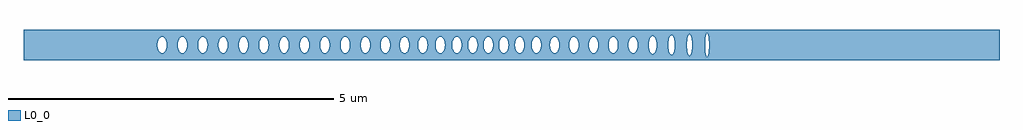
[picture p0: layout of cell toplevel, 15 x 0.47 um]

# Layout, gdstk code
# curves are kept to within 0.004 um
import gdstk
lib = gdstk.Library(unit=1e-6, precision=1e-09)
def P(c, l, *ps):  # polygons
    for p in ps: c.add(gdstk.Polygon(p, *l))
L0_0 = (0, 0)

toplevel = lib.new_cell('toplevel')
P(toplevel, L0_0, [(-4.189,0.032),(-4.178,0.075),(-4.162,0.103),(-4.146,0.119),(-4.119,0.128),(-4.093,0.119),(-4.073,0.098),(-4.058,0.068),(-4.047,0.016),(-4.047,0.234),(-4.754,0.234),(-4.754,0.126),(-4.718,0.119),(-4.695,0.093),(-4.677,0.047),(-4.673,-0.016),(-4.504,-0.016),(-4.502,0.032),(-4.491,0.075),(-4.467,0.112),(-4.432,0.128),(-4.405,0.119),(-4.382,0.093),(-4.36,0.016),(-4.362,-0.032),(-4.373,-0.075),(-4.397,-0.112),(-4.432,-0.128),(-4.459,-0.119),(-4.482,-0.093),(-4.498,-0.054),(-4.504,-0.016),(-4.673,-0.016),(-4.681,-0.061),(-4.702,-0.103),(-4.731,-0.125),(-4.754,-0.126),(-4.754,-0.234),(-4.047,-0.234),(-4.047,-0.019),(-4.058,-0.068),(-4.08,-0.108),(-4.106,-0.125),(-4.133,-0.125),(-4.162,-0.103),(-4.183,-0.061),(-4.192,-0.008)],
  [(-5.119,-0.234),(-5.119,-0.068),(-5.13,-0.008),(-5.119,0.068),(-5.119,0.234),(-7.5,0.234),(-7.5,0),(-5.443,0),(-5.438,0.047),(-5.42,0.093),(-5.397,0.119),(-5.37,0.128),(-5.344,0.119),(-5.324,0.098),(-5.309,0.068),(-5.298,0.016),(-5.301,-0.039),(-5.314,-0.081),(-5.335,-0.112),(-5.37,-0.128),(-5.397,-0.119),(-5.42,-0.093),(-5.438,-0.047),(-5.443,0),(-7.5,0),(-7.5,-0.234)],
  [(-5.107,0.093),(-5.092,0.112),(-5.071,0.125),(-5.057,0.128),(-5.031,0.119),(-5.011,0.098),(-4.996,0.068),(-4.985,-0.008),(-4.999,-0.075),(-5.019,-0.108),(-5.039,-0.123),(-5.057,-0.128),(-5.084,-0.119),(-5.104,-0.098),(-5.119,-0.068),(-5.119,-0.234),(-4.754,-0.234),(-4.754,-0.126),(-4.78,-0.112),(-4.798,-0.087),(-4.817,-0.016),(-4.814,0.039),(-4.801,0.081),(-4.78,0.112),(-4.754,0.126),(-4.754,0.234),(-5.119,0.234),(-5.119,0.068)],
  [(-3.536,-0.234),(-3.536,-0.103),(-3.555,-0.068),(-3.566,-0.016),(-3.561,0.047),(-3.536,0.103),(-3.536,0.234),(-4.047,0.234),(-4.047,-0.008),(-3.879,-0.008),(-3.874,0.047),(-3.856,0.093),(-3.833,0.119),(-3.807,0.128),(-3.78,0.119),(-3.76,0.098),(-3.745,0.068),(-3.734,0.008),(-3.739,-0.047),(-3.757,-0.093),(-3.78,-0.119),(-3.807,-0.128),(-3.833,-0.119),(-3.853,-0.098),(-3.868,-0.068),(-3.879,-0.008),(-4.047,-0.008),(-4.047,-0.234)],
  [(-3.529,0.112),(-3.494,0.128),(-3.467,0.119),(-3.455,0.108),(-3.43,0.061),(-3.421,0),(-3.43,-0.061),(-3.459,-0.112),(-3.494,-0.128),(-3.52,-0.119),(-3.536,-0.103),(-3.536,-0.234),(-3.19,-0.234),(-3.19,-0.126),(-3.208,-0.119),(-3.231,-0.093),(-3.245,-0.061),(-3.253,-0.016),(-3.251,0.032),(-3.24,0.075),(-3.22,0.108),(-3.19,0.126),(-3.19,0.234),(-3.536,0.234),(-3.536,0.103)],
  [(-3.111,-0.032),(-3.125,-0.081),(-3.142,-0.108),(-3.168,-0.125),(-3.19,-0.126),(-3.19,-0.234),(-2.833,-0.234),(-2.833,-0.112),(-2.868,-0.128),(-2.903,-0.112),(-2.927,-0.075),(-2.941,-0.008),(-2.932,0.061),(-2.907,0.108),(-2.895,0.119),(-2.868,0.128),(-2.833,0.112),(-2.833,0.234),(-3.19,0.234),(-3.19,0.126),(-3.154,0.119),(-3.128,0.087),(-3.112,0.039)],
  [(-2.483,-0.008),(-2.492,-0.061),(-2.509,-0.098),(-2.529,-0.119),(-2.556,-0.128),(-2.582,-0.119),(-2.602,-0.098),(-2.617,-0.068),(-2.628,-0.008),(-2.623,0.047),(-2.605,0.093),(-2.582,0.119),(-2.556,0.128),(-2.529,0.119),(-2.509,0.098),(-2.492,0.061),(-2.483,0.008),(-2.483,0.234),(-2.833,0.234),(-2.833,0.112),(-2.807,0.068),(-2.796,0.008),(-2.807,-0.068),(-2.833,-0.112),(-2.833,-0.234),(-2.483,-0.234)],
  [(-1.978,-0.234),(-1.978,-0.108),(-2.003,-0.061),(-2.012,-0.008),(-2.003,0.061),(-1.978,0.108),(-1.978,0.234),(-2.483,0.234),(-2.483,-0.008),(-2.317,-0.008),(-2.312,0.047),(-2.294,0.093),(-2.271,0.119),(-2.245,0.128),(-2.218,0.119),(-2.198,0.098),(-2.183,0.068),(-2.172,0.008),(-2.177,-0.047),(-2.195,-0.093),(-2.218,-0.119),(-2.245,-0.128),(-2.271,-0.119),(-2.291,-0.098),(-2.306,-0.068),(-2.317,-0.008),(-2.483,-0.008),(-2.483,-0.234)],
  [(-1.97,0.115),(-1.939,0.128),(-1.904,0.112),(-1.878,0.068),(-1.869,0.032),(-1.867,-0.016),(-1.878,-0.068),(-1.904,-0.112),(-1.939,-0.128),(-1.966,-0.119),(-1.978,-0.108),(-1.978,-0.234),(-1.626,-0.234),(-1.626,-0.123),(-1.658,-0.125),(-1.691,-0.098),(-1.712,-0.048),(-1.717,-0.008),(-1.712,0.047),(-1.691,0.098),(-1.658,0.125),(-1.626,0.123),(-1.626,0.234),(-1.978,0.234),(-1.978,0.108)],
  [(-1.573,-0.024),(-1.595,-0.093),(-1.626,-0.123),(-1.626,-0.234),(-1.292,-0.234),(-1.292,-0.032),(-1.316,-0.098),(-1.336,-0.119),(-1.363,-0.128),(-1.389,-0.119),(-1.409,-0.098),(-1.424,-0.068),(-1.435,-0.008),(-1.433,0.032),(-1.421,0.075),(-1.401,0.108),(-1.376,0.125),(-1.349,0.125),(-1.324,0.108),(-1.301,0.068),(-1.292,0.032),(-1.292,0.234),(-1.626,0.234),(-1.626,0.123),(-1.598,0.098),(-1.583,0.068),(-1.573,0.024)],
  [(-1.291,-0.024),(-1.292,-0.234),(-0.901,-0.234),(-0.901,-0.068),(-0.912,-0.008),(-0.901,0.068),(-0.901,0.234),(-1.292,0.234),(-1.29,-0.008),(-1.167,-0.008),(-1.162,0.047),(-1.144,0.093),(-1.121,0.119),(-1.094,0.128),(-1.068,0.119),(-1.048,0.098),(-1.033,0.068),(-1.022,0.008),(-1.027,-0.047),(-1.045,-0.093),(-1.068,-0.119),(-1.094,-0.128),(-1.121,-0.119),(-1.141,-0.098),(-1.162,-0.048),(-1.167,-0.008),(-1.29,-0.008)],
  [(-0.769,-0.032),(-0.793,-0.098),(-0.826,-0.125),(-0.839,-0.128),(-0.866,-0.119),(-0.886,-0.098),(-0.901,-0.068),(-0.901,-0.234),(-0.595,-0.234),(-0.595,-0.128),(-0.621,-0.119),(-0.641,-0.098),(-0.656,-0.068),(-0.667,-0.016),(-0.664,0.039),(-0.653,0.075),(-0.63,0.112),(-0.595,0.128),(-0.595,0.234),(-0.901,0.234),(-0.901,0.068),(-0.886,0.098),(-0.866,0.119),(-0.839,0.128),(-0.813,0.119),(-0.793,0.098),(-0.778,0.068),(-0.768,0.024)],
  [(-0.313,-0.103),(-0.342,-0.125),(-0.356,-0.128),(-0.382,-0.119),(-0.412,-0.081),(-0.428,-0.016),(-0.423,0.047),(-0.412,0.081),(-0.395,0.108),(-0.356,0.128),(-0.329,0.119),(-0.313,0.103),(-0.313,0.234),(-0.595,0.234),(-0.595,0.128),(-0.568,0.119),(-0.545,0.093),(-0.527,0.047),(-0.522,0.008),(-0.527,-0.047),(-0.545,-0.093),(-0.568,-0.119),(-0.595,-0.128),(-0.595,-0.234),(-0.313,-0.234)],
  [(-0.313,0.234),(-0.313,0.103),(-0.292,0.061),(-0.283,0),(-0.292,-0.061),(-0.313,-0.103),(-0.313,-0.234),(-0.047,-0.234),(-0.047,-0.024),(-0.057,-0.068),(-0.072,-0.098),(-0.092,-0.119),(-0.119,-0.128),(-0.145,-0.119),(-0.165,-0.098),(-0.18,-0.068),(-0.191,-0.008),(-0.189,0.032),(-0.177,0.075),(-0.157,0.108),(-0.128,0.126),(-0.096,0.121),(-0.072,0.098),(-0.057,0.068),(-0.047,0.024),(-0.047,0.234)],
  [(0.343,-0.234),(0.343,-0.108),(0.323,-0.075),(0.31,-0.016),(0.315,0.047),(0.323,0.075),(0.343,0.108),(0.343,0.234),(-0.047,0.234),(-0.046,-0.008),(0.051,-0.008),(0.056,0.047),(0.074,0.093),(0.097,0.119),(0.124,0.128),(0.15,0.119),(0.17,0.098),(0.185,0.068),(0.196,0.008),(0.193,-0.039),(0.173,-0.093),(0.15,-0.119),(0.124,-0.128),(0.097,-0.119),(0.074,-0.093),(0.056,-0.047),(0.051,-0.008),(-0.046,-0.008),(-0.047,-0.234)],
  [(0.452,-0.032),(0.441,-0.075),(0.409,-0.119),(0.382,-0.128),(0.355,-0.119),(0.343,-0.108),(0.343,-0.234),(0.672,-0.234),(0.672,-0.126),(0.636,-0.119),(0.613,-0.093),(0.595,-0.047),(0.59,-0.008),(0.595,0.047),(0.613,0.093),(0.636,0.119),(0.672,0.126),(0.672,0.234),(0.343,0.234),(0.343,0.108),(0.355,0.119),(0.382,0.128),(0.409,0.119),(0.425,0.103),(0.448,0.054),(0.454,0.016)],
  [(1.027,-0.048),(1.009,-0.093),(0.994,-0.112),(0.973,-0.125),(0.946,-0.125),(0.925,-0.112),(0.91,-0.093),(0.892,-0.047),(0.887,-0.008),(0.889,0.032),(0.901,0.075),(0.921,0.108),(0.946,0.125),(0.973,0.125),(0.994,0.112),(1.009,0.093),(1.027,0.047),(1.027,0.234),(0.672,0.234),(0.672,0.126),(0.698,0.112),(0.712,0.093),(0.73,0.047),(0.735,0.008),(0.732,-0.039),(0.721,-0.075),(0.698,-0.112),(0.672,-0.126),(0.672,-0.234),(1.027,-0.234)],
  [(1.027,0.234),(1.031,-0.016),(1.189,-0.016),(1.192,0.039),(1.205,0.081),(1.226,0.112),(1.261,0.128),(1.288,0.119),(1.311,0.093),(1.327,0.054),(1.334,0),(1.327,-0.054),(1.311,-0.093),(1.288,-0.119),(1.261,-0.128),(1.235,-0.119),(1.215,-0.098),(1.2,-0.068),(1.189,-0.016),(1.031,-0.016),(1.027,-0.234),(1.491,-0.234),(1.491,0.234)],
  [(1.494,0.039),(1.504,0.075),(1.524,0.108),(1.549,0.125),(1.577,0.125),(1.602,0.108),(1.622,0.075),(1.632,0.039),(1.635,-0.016),(1.613,-0.093),(1.59,-0.119),(1.563,-0.128),(1.536,-0.119),(1.513,-0.093),(1.497,-0.054),(1.491,-0.016),(1.491,-0.234),(1.833,-0.234),(1.833,-0.112),(1.804,-0.061),(1.795,0),(1.804,0.061),(1.833,0.112),(1.833,0.234),(1.491,0.234)],
  [(1.938,-0.035),(1.921,-0.087),(1.894,-0.119),(1.868,-0.128),(1.833,-0.112),(1.833,-0.234),(2.158,-0.234),(2.158,-0.138),(2.127,-0.103),(2.115,-0.068),(2.108,-0.018),(2.117,0.075),(2.133,0.114),(2.158,0.138),(2.158,0.234),(1.833,0.234),(1.833,0.112),(1.868,0.128),(1.907,0.108),(1.924,0.081),(1.937,0.039)],
  [(2.166,0.14),(2.193,0.131),(2.213,0.103),(2.228,0.052),(2.232,-0.018),(2.225,-0.068),(2.207,-0.114),(2.178,-0.14),(2.158,-0.138),(2.158,-0.234),(2.466,-0.234),(2.466,-0.153),(2.453,-0.153),(2.44,-0.143),(2.426,-0.118),(2.408,-0.029),(2.411,0.057),(2.424,0.112),(2.44,0.143),(2.453,0.153),(2.466,0.153),(2.466,0.234),(2.158,0.234),(2.158,0.138)],
  [(2.509,-0.048),(2.493,-0.118),(2.479,-0.143),(2.466,-0.153),(2.466,-0.234),(2.765,-0.234),(2.765,-0.123),(2.75,-0.159),(2.739,-0.167),(2.726,-0.162),(2.704,-0.106),(2.695,-0.031),(2.701,0.089),(2.716,0.146),(2.731,0.166),(2.742,0.166),(2.757,0.146),(2.765,0.122),(2.765,0.234),(2.466,0.234),(2.466,0.153),(2.479,0.143),(2.493,0.118),(2.507,0.065),(2.512,0.01)],
  [(7.5,-0.234),(7.5,0.234),(2.765,0.234),(2.765,0.122),(2.778,0.031),(2.777,-0.034),(2.974,-0.034),(2.982,0.123),(2.99,0.158),(3.003,0.18),(3.015,0.171),(3.026,0.139),(3.037,0.034),(3.03,-0.115),(3.021,-0.158),(3.007,-0.18),(2.996,-0.171),(2.985,-0.139),(2.974,-0.034),(2.777,-0.034),(2.765,-0.122),(2.765,-0.234)])

lib.write_gds('toplevel.gds')
